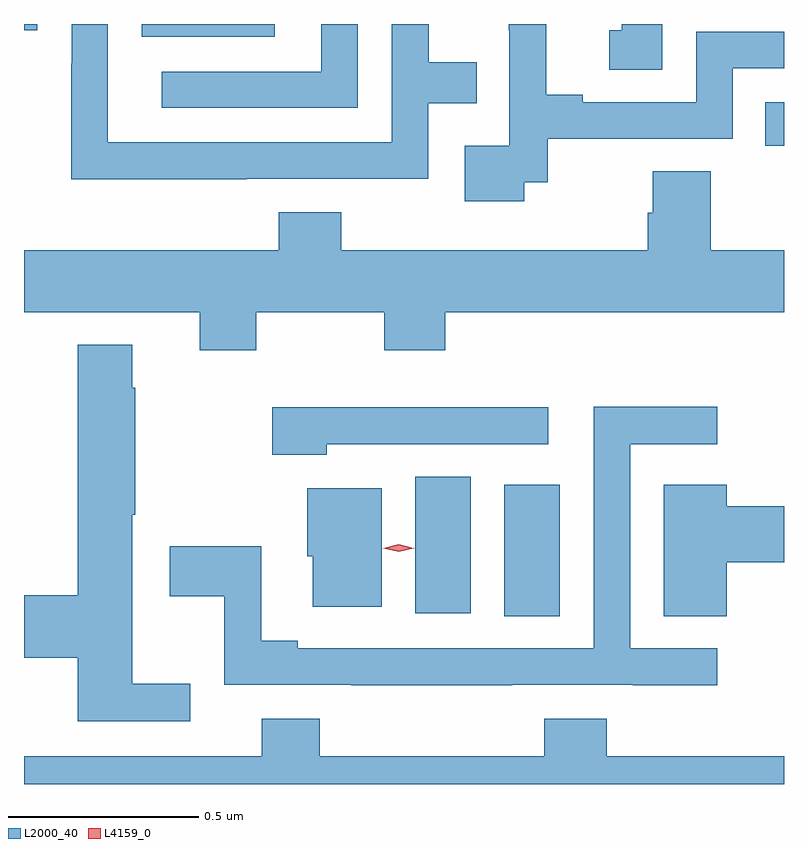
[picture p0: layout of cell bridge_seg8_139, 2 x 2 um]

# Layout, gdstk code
import gdstk
lib = gdstk.Library(unit=1e-6, precision=1e-09)
def R(c, l, rs):  # rectangles x0, y0, x1, y1
    for r in rs: c.add(gdstk.rectangle(r[:2], r[2:], *l))
def P(c, l, *ps):  # polygons
    for p in ps: c.add(gdstk.Polygon(p, *l))
L2000_40 = (2000, 40)
L4159_0 = (4159, 0)

bridge_seg8_139 = lib.new_cell('bridge_seg8_139')
R(bridge_seg8_139, L2000_40, [(397.796,1158.325,397.942,1158.67), (397.562,1158.333,397.708,1158.692), (398.482,1159.562,398.532,1159.677), (396.842,1159.85,397.192,1159.883), (396.532,1159.866,396.567,1159.883)])
P(bridge_seg8_139, L2000_40, [(397.118,1159.476),(397.596,1159.476),(397.596,1159.674),(397.724,1159.674),(397.724,1159.783),(397.597,1159.783),(397.597,1159.883),(397.5,1159.883),(397.5,1159.572),(396.753,1159.572),(396.753,1159.883),(396.657,1159.883),(396.657,1159.778),(396.656,1159.778),(396.656,1159.475),(397.118,1159.475)],
  [(397.41,1159.883),(397.314,1159.883),(397.314,1159.758),(396.894,1159.758),(396.894,1159.662),(397.41,1159.662)],
  [(397.848,1159.467),(397.91,1159.467),(397.91,1159.581),(398.397,1159.581),(398.397,1159.767),(398.532,1159.767),(398.532,1159.863),(398.301,1159.863),(398.301,1159.677),(398.002,1159.677),(398.002,1159.697),(397.906,1159.697),(397.906,1159.883),(397.808,1159.883),(397.808,1159.867),(397.809,1159.867),(397.809,1159.563),(397.692,1159.563),(397.692,1159.416),(397.848,1159.416)],
  [(398.212,1159.883),(398.105,1159.883),(398.105,1159.866),(398.072,1159.866),(398.072,1159.762),(398.212,1159.762)],
  [(397.143,1159.124),(397.48,1159.124),(397.48,1159.025),(397.64,1159.025),(397.64,1159.124),(398.532,1159.124),(398.532,1159.288),(398.339,1159.288),(398.339,1159.496),(398.186,1159.496),(398.186,1159.386),(398.174,1159.386),(398.174,1159.288),(397.367,1159.288),(397.367,1159.387),(397.202,1159.387),(397.202,1159.288),(396.532,1159.288),(396.532,1159.124),(396.995,1159.124),(396.995,1159.025),(397.143,1159.025)],
  [(396.97,1158.147),(396.817,1158.147),(396.817,1158.592),(396.825,1158.592),(396.825,1158.926),(396.817,1158.926),(396.817,1159.039),(396.674,1159.039),(396.674,1158.38),(396.532,1158.38),(396.532,1158.215),(396.674,1158.215),(396.674,1158.048),(396.97,1158.048)],
  [(397.817,1158.144),(398.134,1158.144),(398.134,1158.143),(398.356,1158.143),(398.356,1158.24),(398.127,1158.24),(398.127,1158.777),(398.356,1158.777),(398.356,1158.876),(398.031,1158.876),(398.031,1158.24),(397.252,1158.24),(397.252,1158.26),(397.156,1158.26),(397.156,1158.509),(396.915,1158.509),(396.915,1158.377),(397.059,1158.377),(397.059,1158.144),(397.393,1158.144),(397.393,1158.143),(397.817,1158.143)],
  [(397.329,1158.777),(397.912,1158.777),(397.912,1158.874),(397.185,1158.874),(397.185,1158.749),(397.329,1158.749)],
  [(398.381,1158.467),(398.532,1158.467),(398.532,1158.614),(398.381,1158.614),(398.381,1158.67),(398.216,1158.67),(398.216,1158.325),(398.381,1158.325)],
  [(397.474,1158.661),(397.277,1158.661),(397.277,1158.483),(397.292,1158.483),(397.292,1158.35),(397.474,1158.35)],
  [(398.532,1157.956),(398.066,1157.956),(398.066,1158.055),(397.901,1158.055),(397.901,1157.956),(397.31,1157.956),(397.31,1158.055),(397.157,1158.055),(397.157,1157.956),(396.532,1157.956),(396.532,1157.883),(398.532,1157.883)])
P(bridge_seg8_139, L4159_0, [(397.518,1158.494),(397.478,1158.504),(397.478,1158.504),(397.478,1158.504),(397.518,1158.514),(397.558,1158.504),(397.559,1158.504),(397.558,1158.504)])

lib.write_gds('bridge_seg8_139.gds')
